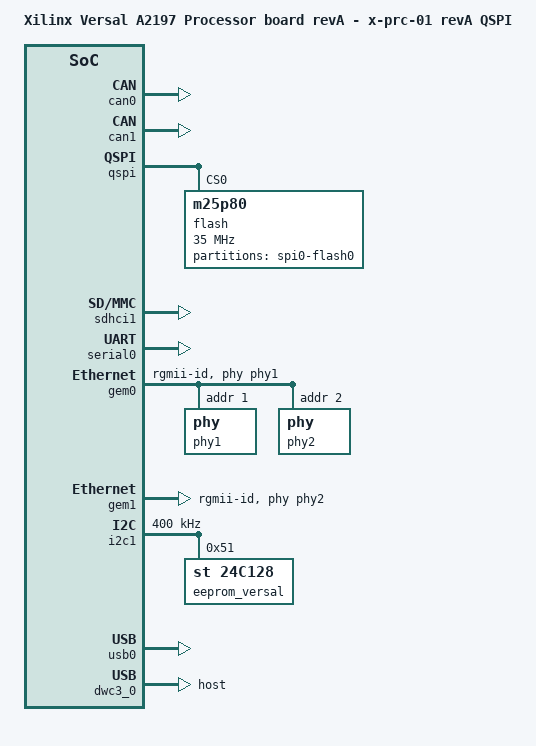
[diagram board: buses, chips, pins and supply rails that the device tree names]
// SPDX-License-Identifier: GPL-2.0
/*
 * dts file for Xilinx Versal X-PRC-01 revA (SE1)
 *
 * (C) Copyright 2019, Xilinx, Inc.
 *
 * Michal Simek <michal.simek@xilinx.com>
 */

#include "versal-vc-p-a2197-00-revA.dts"

/ {
	compatible = "xlnx,versal-vc-p-a2197-00-revA-x-prc-01-revA",
		     "xlnx,versal-vc-p-a2197-00-revA",
		     "xlnx,versal-vc-p-a2197-00",
		     "xlnx,versal-vc-p-a2197", "xlnx,versal";
	model = "Xilinx Versal A2197 Processor board revA - x-prc-01 revA QSPI";

	chosen {
		bootargs = "console=ttyAMA0 earlycon=pl011,mmio32,0xFF000000,115200n8 clk_ignore_unused";
		stdout-path = "serial0:115200";
	};

	aliases {
		serial0 = &serial0;
		ethernet0 = &gem0;
		ethernet1 = &gem1;
		i2c0 = &i2c1;
		mmc0 = &sdhci1;
		spi0 = &qspi;
		usb0 = &usb0;
		rtc0 = &rtc;
	};
};

&can0 {
	status = "okay";
};

&can1 {
	status = "okay";
};

&qspi {
	status = "okay"; /* u93 and u92 */
	num-cs = <0x1>;
	is-dual = <0x1>;
	spi-rx-bus-width = <4>;
	spi-tx-bus-width = <4>;

	flash@0 {
		compatible = "m25p80", "jedec,spi-nor";
		#address-cells = <1>;
		#size-cells = <1>;
		reg = <0x0>;
		spi-tx-bus-width = <4>;
		spi-rx-bus-width = <4>;
		spi-max-frequency = <35000000>;
		partition@0 {
			label = "spi0-flash0";
			reg = <0x0 0x8000000>;
		};
	};
};

&sdhci1 { /* U104 */
	status = "okay";
	xlnx,mio-bank = <1>;
};

&serial0 {
	status = "okay";
};

&gem0 {
	status = "okay";
	phy-handle = <&phy1>; /* u128 */
	phy-mode = "rgmii-id";
	phy1: phy@1 {
		reg = <1>;
		ti,rx-internal-delay = <0xb>;
		ti,tx-internal-delay = <0xa>;
		ti,fifo-depth = <1>;
		ti,dp83867-rxctrl-strap-quirk; /* FIXME - Remove if board is fixed */
	};
	phy2: phy@2 {
		reg = <2>;
		ti,rx-internal-delay = <0xb>;
		ti,tx-internal-delay = <0xa>;
		ti,fifo-depth = <1>;
		ti,dp83867-rxctrl-strap-quirk; /* FIXME - Remove if board is fixed */
	};
};

&gem1 {
	status = "okay";
	phy-handle = <&phy2>; /* u134 */
	phy-mode = "rgmii-id";
};

&i2c1 {
	status = "okay";
	clock-frequency = <400000>;
	eeprom_versal: eeprom@51 { /* U116 */
		compatible = "st,24c128", "atmel,24c128";
		reg = <0x51>;
	};

	/* FIXME - U117 and U118 */
};

&usb0 {
	status = "okay";
	xlnx,usb-polarity = <0x0>;
	xlnx,usb-reset-mode = <0x0>;
};

&dwc3_0 { /* USB 2.0 host - U99 */
	status = "okay";
	dr_mode = "host";
	maximum-speed = "high-speed";
	snps,dis_u2_susphy_quirk;
	snps,dis_u3_susphy_quirk;
	snps,usb3_lpm_capable;
	phy-names = "usb3-phy";
};

&lpd_dma_chan0 {
	status = "okay";
};

&lpd_dma_chan1 {
	status = "okay";
};

&lpd_dma_chan2 {
	status = "okay";
};

&lpd_dma_chan3 {
	status = "okay";
};

&lpd_dma_chan4 {
	status = "okay";
};

&lpd_dma_chan5 {
	status = "okay";
};

&lpd_dma_chan6 {
	status = "okay";
};

&lpd_dma_chan7 {
	status = "okay";
};
